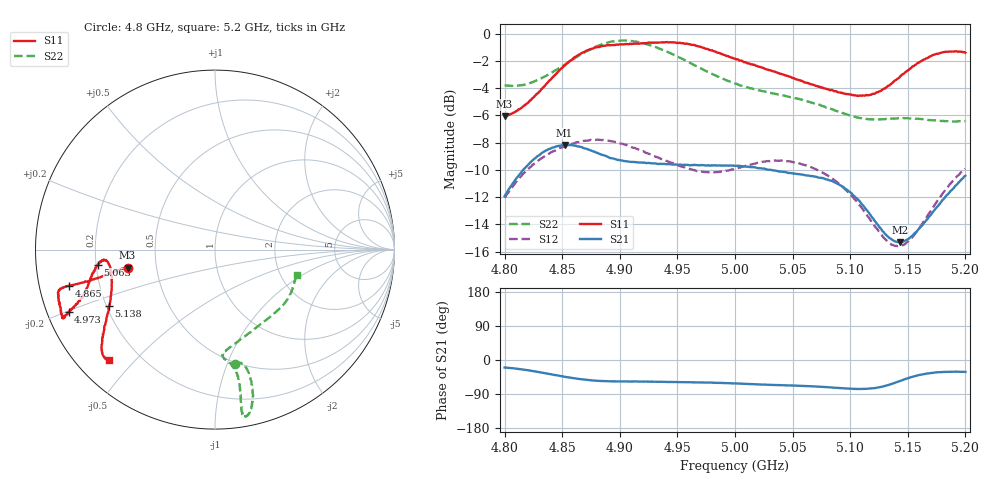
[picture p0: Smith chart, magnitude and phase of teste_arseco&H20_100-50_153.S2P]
! Network Analyzer HP8722D
! Hewlett-Packard
! Data name: Linha & Wilkinson
! Saver's name: Rodrigo Anjos
! Comments: Teste da utilização de aquisição
! continua pelo VNA HP8722D
! Time and date: 6/5/2025 13:50
!  Frequency  S11  S21  S12  S22
# HZ  S  MA R 50
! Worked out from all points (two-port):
!   401 points, 4.8 GHz to 5.2 GHz, reference 50 ohm
!   highest |S21| = -8.17 dB at 4.852 GHz (marker M1); lowest = -15.3 dB at 5.143 GHz (marker M2)
!   |S21| within 3 dB of the highest: 4.806 GHz to 5.092 GHz (286.6 MHz wide, 5.79 % of centre); 5.191343 GHz to end of sweep
!   lowest |S11| = -6.1 dB at 4.8 GHz (marker M3), VSWR 2.98, Z = 16.9 - j4.54 ohm
!   |S11| at or under -10 dB: nowhere
!   |S22| runs from -6.5 to -0.5 dB; largest |S21 - S12| = 0.62
!   S11 on the Smith chart (normalised r, x): 4.8 GHz: 0.34, -0.09; 4.865 GHz: 0.09, -0.12; 4.973 GHz: 0.06, -0.20; 5.063 GHz: 0.21, -0.06; 5.138 GHz: 0.21, -0.24; 5.2 GHz: 0.09, -0.42
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4.8e9  0.4978 -168.3  0.2532 -19.9  0.2495 -141.1  0.6471 -80.2
4.826e9  0.5893 -167.4  0.3478 -29.9  0.334 -144.7  0.6692 -75.7
4.852e9  0.7641 -166.0  0.3905 -44.0  0.3866 -149.7  0.7693 -74.7
4.865e9  0.8393 -166.1  0.385 -50.2  0.4014 -152.0  0.8336 -75.3
4.867e9  0.8492 -166.1  0.3837 -51.1  0.4025 -152.2  0.8437 -75.4
4.88e9  0.8917 -165.7  0.3659 -54.8  0.4081 -154.4  0.8998 -76.9
4.899e9  0.9122 -163.0  0.3439 -56.5  0.3975 -156.8  0.943 -79.1
4.934e9  0.9287 -156.6  0.3322 -57.6  0.3503 -155.8  0.8824 -80.5
4.973e9  0.8872 -156.9  0.329 -59.5  0.3107 -146.0  0.7355 -79.8
5e9  0.8104 -159.3  0.3273 -62.0  0.3192 -137.3  0.656 -81.3
5.039e9  0.7132 -166.8  0.3116 -66.2  0.3418 -134.6  0.5971 -85.9
5.063e9  0.6593 -172.6  0.3014 -68.7  0.3265 -136.6  0.5639 -83.7
5.067e9  0.6503 -173.1  0.3004 -69.2  0.3225 -136.9  0.5581 -82.6
5.082e9  0.6217 -174.7  0.2895 -72.0  0.2986 -138.4  0.532 -77.1
5.101e9  0.5975 -172.2  0.2602 -75.9  0.2545 -139.0  0.5004 -66.5
5.116e9  0.5945 -165.7  0.2208 -75.9  0.2118 -135.5  0.485 -55.6
5.134e9  0.6458 -154.3  0.1777 -65.1  0.1703 -120.6  0.4869 -43.3
5.138e9  0.6689 -151.9  0.1735 -61.0  0.1668 -115.3  0.4872 -40.8
5.143e9  0.6928 -149.5  0.1716 -55.7  0.166 -108.8  0.4896 -37.9
5.154e9  0.7582 -144.6  0.1813 -44.3  0.1794 -95.0  0.4888 -32.3
5.173e9  0.8373 -139.0  0.2249 -33.3  0.2341 -80.9  0.4812 -24.3
5.2e9  0.8517 -133.8  0.301 -31.5  0.3192 -77.1  0.4779 -17.5
